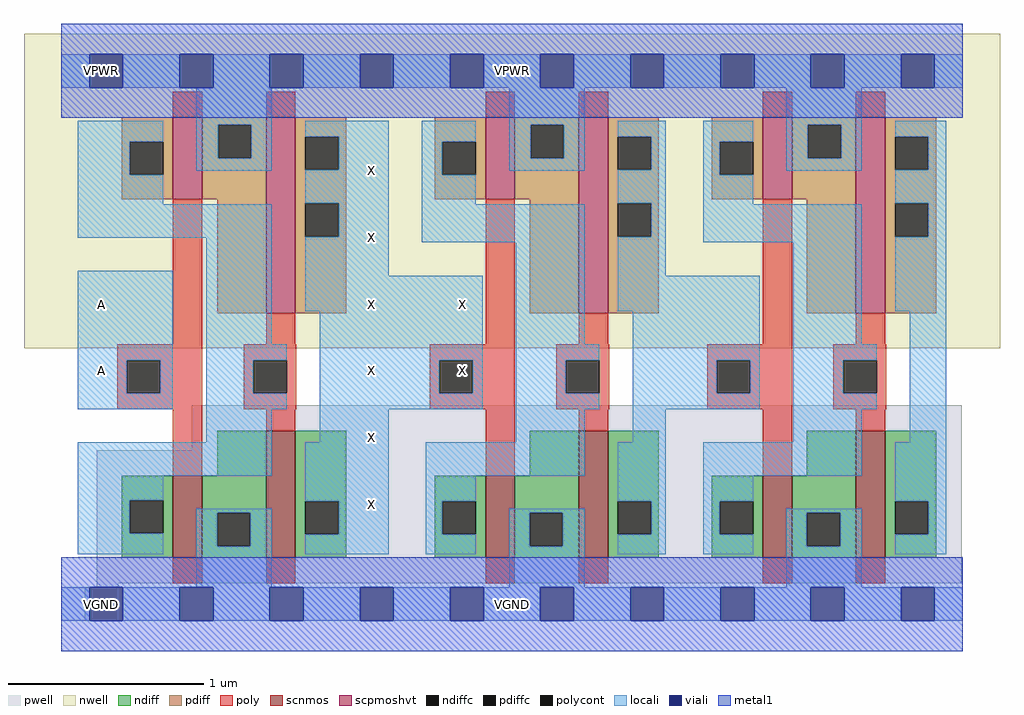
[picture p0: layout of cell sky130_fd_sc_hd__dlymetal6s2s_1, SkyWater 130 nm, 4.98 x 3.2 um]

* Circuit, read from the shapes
.subckt sky130_fd_sc_hd__dlymetal6s2s_1 A VGND VNB VPB VPWR X
XM1 VGND A n1 VNB sky130_fd_pr__nfet_01v8 w=0.42 l=0.15
XM2 X n1 VGND VNB sky130_fd_pr__nfet_01v8 w=0.65 l=0.15
XM3 VGND X n2 VNB sky130_fd_pr__nfet_01v8 w=0.42 l=0.15
XM4 n3 n2 VGND VNB sky130_fd_pr__nfet_01v8 w=0.65 l=0.15
XM5 VGND n3 n4 VNB sky130_fd_pr__nfet_01v8 w=0.42 l=0.15
XM6 n5 n4 VGND VNB sky130_fd_pr__nfet_01v8 w=0.65 l=0.15
XM7 VPWR A n1 VPB sky130_fd_pr__pfet_01v8_hvt w=0.42 l=0.15
XM8 X n1 VPWR VPB sky130_fd_pr__pfet_01v8_hvt w=1 l=0.15
XM9 VPWR X n2 VPB sky130_fd_pr__pfet_01v8_hvt w=0.42 l=0.15
XM10 n3 n2 VPWR VPB sky130_fd_pr__pfet_01v8_hvt w=1 l=0.15
XM11 VPWR n3 n4 VPB sky130_fd_pr__pfet_01v8_hvt w=0.42 l=0.15
XM12 n5 n4 VPWR VPB sky130_fd_pr__pfet_01v8_hvt w=1 l=0.15
.ends

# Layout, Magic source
magic
tech sky130B
magscale 1 2
<< nwell >>
rect -38 261 958 582
<< pwell >>
rect 133 157 919 203
rect 36 21 919 157
rect 36 17 58 21
rect 24 -17 58 17
<< scnmos >>
rect 114 47 144 131
rect 209 47 239 177
rect 433 47 463 131
rect 528 47 558 177
rect 716 47 746 131
rect 811 47 841 177
<< scpmoshvt >>
rect 114 413 144 497
rect 209 297 239 497
rect 433 413 463 497
rect 528 297 558 497
rect 716 413 746 497
rect 811 297 841 497
<< ndiff >>
rect 159 131 209 177
rect 62 106 114 131
rect 62 72 70 106
rect 104 72 114 106
rect 62 47 114 72
rect 144 93 209 131
rect 144 59 159 93
rect 193 59 209 93
rect 144 47 209 59
rect 239 105 291 177
rect 478 131 528 177
rect 239 71 249 105
rect 283 71 291 105
rect 239 47 291 71
rect 381 105 433 131
rect 381 71 389 105
rect 423 71 433 105
rect 381 47 433 71
rect 463 93 528 131
rect 463 59 478 93
rect 512 59 528 93
rect 463 47 528 59
rect 558 105 610 177
rect 761 131 811 177
rect 558 71 568 105
rect 602 71 610 105
rect 558 47 610 71
rect 664 105 716 131
rect 664 71 672 105
rect 706 71 716 105
rect 664 47 716 71
rect 746 93 811 131
rect 746 59 761 93
rect 795 59 811 93
rect 746 47 811 59
rect 841 105 893 177
rect 841 71 851 105
rect 885 71 893 105
rect 841 47 893 71
<< pdiff >>
rect 62 472 114 497
rect 62 438 70 472
rect 104 438 114 472
rect 62 413 114 438
rect 144 489 209 497
rect 144 455 160 489
rect 194 455 209 489
rect 144 413 209 455
rect 159 297 209 413
rect 239 477 291 497
rect 239 443 249 477
rect 283 443 291 477
rect 239 409 291 443
rect 381 472 433 497
rect 381 438 389 472
rect 423 438 433 472
rect 381 413 433 438
rect 463 489 528 497
rect 463 455 479 489
rect 513 455 528 489
rect 463 413 528 455
rect 239 375 249 409
rect 283 375 291 409
rect 239 297 291 375
rect 478 297 528 413
rect 558 477 610 497
rect 558 443 568 477
rect 602 443 610 477
rect 558 409 610 443
rect 664 472 716 497
rect 664 438 672 472
rect 706 438 716 472
rect 664 413 716 438
rect 746 489 811 497
rect 746 455 762 489
rect 796 455 811 489
rect 746 413 811 455
rect 558 375 568 409
rect 602 375 610 409
rect 558 297 610 375
rect 761 297 811 413
rect 841 477 893 497
rect 841 443 851 477
rect 885 443 893 477
rect 841 409 893 443
rect 841 375 851 409
rect 885 375 893 409
rect 841 297 893 375
<< ndiffc >>
rect 70 72 104 106
rect 159 59 193 93
rect 249 71 283 105
rect 389 71 423 105
rect 478 59 512 93
rect 568 71 602 105
rect 672 71 706 105
rect 761 59 795 93
rect 851 71 885 105
<< pdiffc >>
rect 70 438 104 472
rect 160 455 194 489
rect 249 443 283 477
rect 389 438 423 472
rect 479 455 513 489
rect 249 375 283 409
rect 568 443 602 477
rect 672 438 706 472
rect 762 455 796 489
rect 568 375 602 409
rect 851 443 885 477
rect 851 375 885 409
<< poly >>
rect 114 497 144 523
rect 209 497 239 523
rect 433 497 463 523
rect 528 497 558 523
rect 716 497 746 523
rect 811 497 841 523
rect 114 265 144 413
rect 209 265 239 297
rect 433 265 463 413
rect 528 265 558 297
rect 716 265 746 413
rect 811 265 841 297
rect 57 249 144 265
rect 57 215 67 249
rect 101 215 144 249
rect 57 199 144 215
rect 186 249 240 265
rect 186 215 196 249
rect 230 215 240 249
rect 186 199 240 215
rect 376 249 463 265
rect 376 215 386 249
rect 420 215 463 249
rect 376 199 463 215
rect 505 249 559 265
rect 505 215 515 249
rect 549 215 559 249
rect 505 199 559 215
rect 659 249 746 265
rect 659 215 669 249
rect 703 215 746 249
rect 659 199 746 215
rect 788 249 842 265
rect 788 215 798 249
rect 832 215 842 249
rect 788 199 842 215
rect 114 131 144 199
rect 209 177 239 199
rect 433 131 463 199
rect 528 177 558 199
rect 716 131 746 199
rect 811 177 841 199
rect 114 21 144 47
rect 209 21 239 47
rect 433 21 463 47
rect 528 21 558 47
rect 716 21 746 47
rect 811 21 841 47
<< polycont >>
rect 67 215 101 249
rect 196 215 230 249
rect 386 215 420 249
rect 515 215 549 249
rect 669 215 703 249
rect 798 215 832 249
<< locali >>
rect 0 527 29 561
rect 63 527 121 561
rect 155 527 213 561
rect 247 527 305 561
rect 339 527 397 561
rect 431 527 489 561
rect 523 527 581 561
rect 615 527 673 561
rect 707 527 765 561
rect 799 527 857 561
rect 891 527 920 561
rect 17 472 104 493
rect 17 438 70 472
rect 138 489 215 527
rect 138 455 160 489
rect 194 455 215 489
rect 138 442 215 455
rect 249 477 334 493
rect 283 443 334 477
rect 17 408 104 438
rect 249 409 334 443
rect 17 374 215 408
rect 17 249 114 340
rect 17 215 67 249
rect 101 215 114 249
rect 17 199 114 215
rect 148 265 215 374
rect 283 375 334 409
rect 249 335 334 375
rect 368 472 423 493
rect 368 438 389 472
rect 457 489 534 527
rect 457 455 479 489
rect 513 455 534 489
rect 457 442 534 455
rect 568 477 617 493
rect 602 443 617 477
rect 368 408 423 438
rect 568 409 617 443
rect 368 369 534 408
rect 249 299 430 335
rect 148 249 230 265
rect 148 215 196 249
rect 148 199 230 215
rect 264 249 430 299
rect 264 215 386 249
rect 420 215 430 249
rect 264 199 430 215
rect 464 265 534 369
rect 602 375 617 409
rect 568 335 617 375
rect 655 472 706 493
rect 655 438 672 472
rect 740 489 817 527
rect 740 455 762 489
rect 796 455 817 489
rect 740 442 817 455
rect 851 477 903 493
rect 885 443 903 477
rect 655 408 706 438
rect 851 409 903 443
rect 655 369 817 408
rect 568 299 713 335
rect 464 249 549 265
rect 464 215 515 249
rect 464 199 549 215
rect 583 249 713 299
rect 583 215 669 249
rect 703 215 713 249
rect 583 199 713 215
rect 747 265 817 369
rect 885 375 903 409
rect 851 299 903 375
rect 747 249 832 265
rect 747 215 798 249
rect 747 199 832 215
rect 148 165 215 199
rect 264 165 334 199
rect 464 165 534 199
rect 583 165 617 199
rect 747 165 817 199
rect 866 165 903 299
rect 17 131 215 165
rect 17 106 104 131
rect 17 72 70 106
rect 249 105 334 165
rect 17 51 104 72
rect 138 93 215 97
rect 138 59 159 93
rect 193 59 215 93
rect 138 17 215 59
rect 283 71 334 105
rect 249 51 334 71
rect 372 131 534 165
rect 372 105 423 131
rect 372 71 389 105
rect 568 105 617 165
rect 372 51 423 71
rect 457 93 534 97
rect 457 59 478 93
rect 512 59 534 93
rect 457 17 534 59
rect 602 71 617 105
rect 568 51 617 71
rect 655 131 817 165
rect 655 105 706 131
rect 655 71 672 105
rect 851 105 903 165
rect 655 51 706 71
rect 740 93 817 97
rect 740 59 761 93
rect 795 59 817 93
rect 740 17 817 59
rect 885 71 903 105
rect 851 51 903 71
rect 0 -17 29 17
rect 63 -17 121 17
rect 155 -17 213 17
rect 247 -17 305 17
rect 339 -17 397 17
rect 431 -17 489 17
rect 523 -17 581 17
rect 615 -17 673 17
rect 707 -17 765 17
rect 799 -17 857 17
rect 891 -17 920 17
<< viali >>
rect 29 527 63 561
rect 121 527 155 561
rect 213 527 247 561
rect 305 527 339 561
rect 397 527 431 561
rect 489 527 523 561
rect 581 527 615 561
rect 673 527 707 561
rect 765 527 799 561
rect 857 527 891 561
rect 29 -17 63 17
rect 121 -17 155 17
rect 213 -17 247 17
rect 305 -17 339 17
rect 397 -17 431 17
rect 489 -17 523 17
rect 581 -17 615 17
rect 673 -17 707 17
rect 765 -17 799 17
rect 857 -17 891 17
<< metal1 >>
rect 0 561 920 592
rect 0 527 29 561
rect 63 527 121 561
rect 155 527 213 561
rect 247 527 305 561
rect 339 527 397 561
rect 431 527 489 561
rect 523 527 581 561
rect 615 527 673 561
rect 707 527 765 561
rect 799 527 857 561
rect 891 527 920 561
rect 0 496 920 527
rect 0 17 920 48
rect 0 -17 29 17
rect 63 -17 121 17
rect 155 -17 213 17
rect 247 -17 305 17
rect 339 -17 397 17
rect 431 -17 489 17
rect 523 -17 581 17
rect 615 -17 673 17
rect 707 -17 765 17
rect 799 -17 857 17
rect 891 -17 920 17
rect 0 -48 920 -17
<< labels >>
flabel metal1 s 24 527 58 561 0 FreeSans 200 0 0 0 VPWR
port 5 nsew power bidirectional abutment
flabel metal1 s 24 -17 58 17 0 FreeSans 200 0 0 0 VGND
port 2 nsew ground bidirectional abutment
flabel nwell s 24 527 58 561 0 FreeSans 200 0 0 0 VPB
port 4 nsew power bidirectional
flabel pwell s 24 -17 58 17 0 FreeSans 200 0 0 0 VNB
port 3 nsew ground bidirectional
flabel locali s 24 221 58 255 0 FreeSans 200 0 0 0 A
port 1 nsew signal input
flabel locali s 300 289 334 323 0 FreeSans 200 0 0 0 X
port 6 nsew signal output
flabel locali s 24 289 58 323 0 FreeSans 200 0 0 0 A
port 1 nsew signal input
flabel locali s 300 357 334 391 0 FreeSans 200 0 0 0 X
port 6 nsew signal output
flabel locali s 300 425 334 459 0 FreeSans 200 0 0 0 X
port 6 nsew signal output
flabel locali s 300 221 334 255 0 FreeSans 200 0 0 0 X
port 6 nsew signal output
flabel locali s 300 153 334 187 0 FreeSans 200 0 0 0 X
port 6 nsew signal output
flabel locali s 300 85 334 119 0 FreeSans 200 0 0 0 X
port 6 nsew signal output
flabel locali s 392 221 426 255 0 FreeSans 200 0 0 0 X
port 6 nsew signal output
flabel locali s 392 289 426 323 0 FreeSans 200 0 0 0 X
port 6 nsew signal output
rlabel comment s 0 0 0 0 4 dlymetal6s2s_1
rlabel metal1 s 0 -48 920 48 1 VGND
port 2 nsew ground bidirectional abutment
rlabel metal1 s 0 496 920 592 1 VPWR
port 5 nsew power bidirectional abutment
<< properties >>
string FIXED_BBOX 0 0 920 544
string GDS_END 2901970
string GDS_FILE $PDKPATH/libs.ref/sky130_fd_sc_hd/gds/sky130_fd_sc_hd.gds
string GDS_START 2894194
string LEFclass CORE
string LEFsite unithd
string LEFsymmetry X Y R90
string path 0.000 13.600 23.000 13.600 
<< end >>
